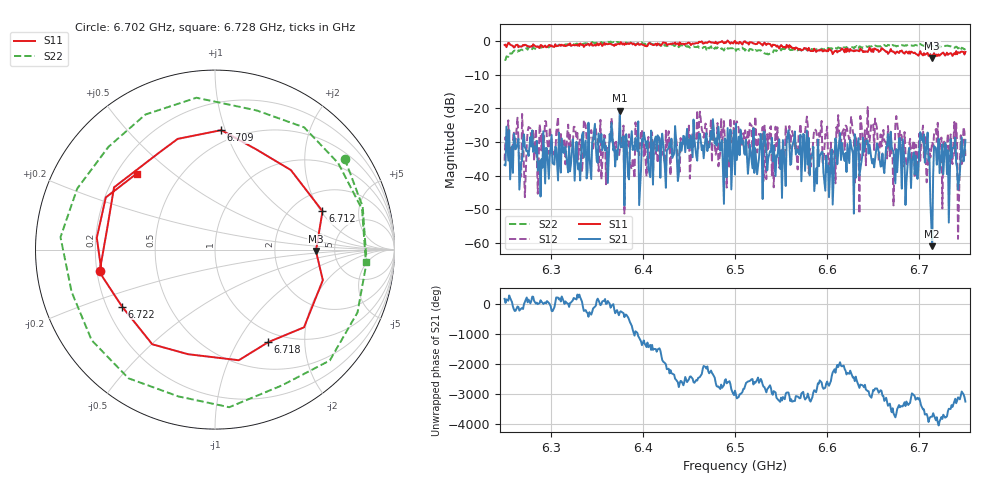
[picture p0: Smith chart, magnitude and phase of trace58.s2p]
# Hz S RI R 50
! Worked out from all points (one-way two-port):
!   401 points, 6.25 GHz to 6.75 GHz, reference 50 ohm
!   highest |S21| = -20.67 dB at 6.375 GHz (marker M1); lowest = -61.0 dB at 6.714 GHz (marker M2)
!   lowest |S11| = -5.0 dB at 6.714 GHz (marker M3), VSWR 3.57, Z = 178 - j4.01 ohm
!   |S11| at or under -10 dB: nowhere
!   |S22| runs from -5.6 to -0.1 dB; largest |S21 - S12| = 0.13
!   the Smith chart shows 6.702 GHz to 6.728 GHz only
!   S11 on the Smith chart (normalised r, x): 6.702 GHz: 0.21, -0.09; 6.709 GHz: 0.40, +0.97; 6.712 GHz: 2.88, +2.07; 6.718 GHz: 0.85, -1.36; 6.722 GHz: 0.26, -0.26; 6.728 GHz: 0.28, +0.38
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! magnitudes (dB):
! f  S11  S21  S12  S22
! 6.25 GHz  -1.2  -36.8  -35.6  -5.5
! 6.334 GHz  -1.2  -28.0  -38.9  -0.9
! 6.375 GHz  -1.0  -20.7  -32.5  -0.4
! 6.382 GHz  -0.9  -27.7  -28.9  -0.4
! 6.392 GHz  -1.3  -28.8  -24.2  -1.2
! 6.418 GHz  -1.1  -28.8  -29.1  -0.8
! 6.454 GHz  -0.7  -34.6  -27.1  -1.6
! 6.461 GHz  -0.2  -27.6  -24.6  -2.0
! 6.491 GHz  -0.2  -40.5  -43.6  -2.0
! 6.5 GHz  0.1  -39.7  -34.9  -2.2
! 6.584 GHz  -3.0  -33.7  -33.1  -2.5
! 6.668 GHz  -3.1  -32.3  -34.2  -1.3
! 6.676 GHz  -3.1  -39.0  -24.2  -1.5
! 6.684 GHz  -3.7  -36.3  -27.1  -1.4
! 6.702 GHz  -3.7  -28.4  -29.9  -1.1
! 6.709 GHz  -3.5  -27.2  -38.1  -1.5
! 6.712 GHz  -3.9  -47.8  -34.6  -1.3
! 6.714 GHz  -5.0  -61.0  -30.0  -1.4
! 6.718 GHz  -4.5  -31.8  -26.2  -1.5
! 6.722 GHz  -4.3  -39.3  -31.3  -1.8
! 6.728 GHz  -4.3  -30.3  -29.6  -1.5
! 6.75 GHz  -3.2  -29.5  -34.2  -2.3
